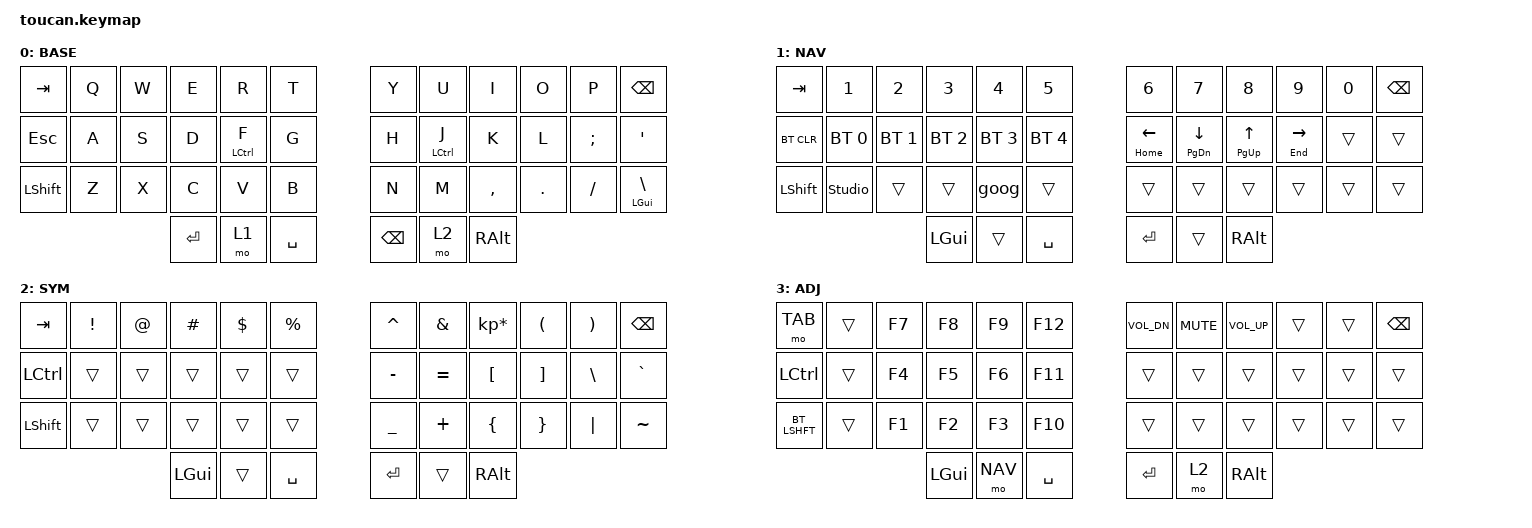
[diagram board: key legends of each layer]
#include <behaviors.dtsi>
#include <dt-bindings/zmk/keys.h>
#include <dt-bindings/zmk/bt.h>
#include <dt-bindings/zmk/outputs.h>

#define BASE 0
#define NAV  1
#define SYM  2
#define ADJ  3
#define k

/ {

    behaviors {
      hm: home_row_mod {
          compatible = "zmk,behavior-hold-tap";
          #binding-cells = <2>;
          flavor = "balanced";
          require-prior-idle-ms = <150>;
          tapping-term-ms = <280>;
          quick-tap-ms = <175>;
          bindings = <&kp>, <&kp>;
      };
    };

    // https://zmk.dev/docs/keymaps/behaviors/macros
    macros { 
      goog: goog { // Enters google.com 
        compatible = "zmk,behavior-macro"; 
        #binding-cells = <0>; 
        wait-ms = <10>;
        tap-ms = <10>;
        bindings = <&macro_tap &kp G &kp O &kp O &kp G &kp L &kp E &kp DOT &kp C &kp O &kp M>;
      };
    };

    conditional_layers {
        compatible = "zmk,conditional-layers";
        tri_layer {
            if-layers = <1 2>;
            then-layer = <3>;
        };
    }; 

	//TODO prefix layer: https://getreuer.info/posts/keyboards/macros3/index.html#prefixing-layer 

    keymap {
        compatible = "zmk,keymap";

        base {
            display-name = "BASE";
            bindings = <
                &kp TAB   &kp Q &kp W    &kp E &kp R       &kp T   &kp Y &kp U  &kp I     &kp O   &kp P    &kp BSPC
                &kp ESC   &kp A &kp S    &kp D &hm LCTRL F &kp G   &kp H &hm LCTRL J  &kp K     &kp L   &kp SEMI &kp SQT
                &kp LSHFT &kp Z &kp X    &kp C &kp V       &kp B   &kp N &kp M  &kp COMMA &kp DOT &kp FSLH &hm LGUI BSLH
                                &kp RET  &mo 1 &kp SPACE                 &kp BSPC &mo 2 &kp RALT
            >;
        };

        nav {
            display-name = "NAV";
            bindings = <
                &kp TAB     &kp N1          &kp N2       &kp N3       &kp N4       &kp N5         &kp N6   &kp N7   &kp N8 &kp N9    &kp N0 &kp BSPC
                &bt BT_CLR  &bt BT_SEL 0    &bt BT_SEL 1 &bt BT_SEL 2 &bt BT_SEL 3 &bt BT_SEL 4   &hm HOME LEFT &hm PAGE_DOWN DOWN &hm PAGE_UP UP &hm END RIGHT &trans &trans
                &kp LSHFT   &studio_unlock  &trans       &trans       &goog        &trans         &trans   &trans   &trans &trans    &trans &trans
                                                &kp LGUI     &trans       &kp SPACE      &kp RET  &trans   &kp RALT
            >;
        };

        sym {
            display-name = "SYM";
            bindings = <
                &kp TAB   &kp EXCL &kp AT &kp HASH &kp DLLR &kp PRCNT   &kp CARET &kp AMPS  &kp KP_MULTIPLY &kp LPAR &kp RPAR &kp BSPC
                &kp LCTRL &trans   &trans &trans   &trans   &trans      &kp MINUS &kp EQUAL &kp LBKT        &kp RBKT &kp BSLH &kp GRAVE
                &kp LSHFT &trans   &trans &trans   &trans   &trans      &kp UNDER &kp PLUS  &kp LBRC        &kp RBRC &kp PIPE &kp TILDE
                                          &kp LGUI &trans   &kp SPACE   &kp RET   &trans    &kp RALT
            >;
        };

        adj {
            display-name = "ADJ";
            bindings = <
                &mo TAB   &trans &kp F7 &kp F8 &kp F9 &kp F12   &kp C_VOL_DN &kp C_MUTE  &kp C_VOL_UP &trans &trans &kp BSPC
                &kp LCTRL &trans &kp F4 &kp F5 &kp F6 &kp F11   &trans       &trans      &trans       &trans &trans &trans
                &bt LSHFT &trans &kp F1 &kp F2 &kp F3 &kp F10   &trans       &trans      &trans       &trans &trans &trans
                                   &kp LGUI &mo NAV &kp SPACE   &kp RET &mo 2 &kp RALT
            >;
        };
        extra_1 {
                status = "reserved";
        };

        extra_2 {
                status = "reserved";
        };

        extra_3 {
                status = "reserved";
        };
    };
};
